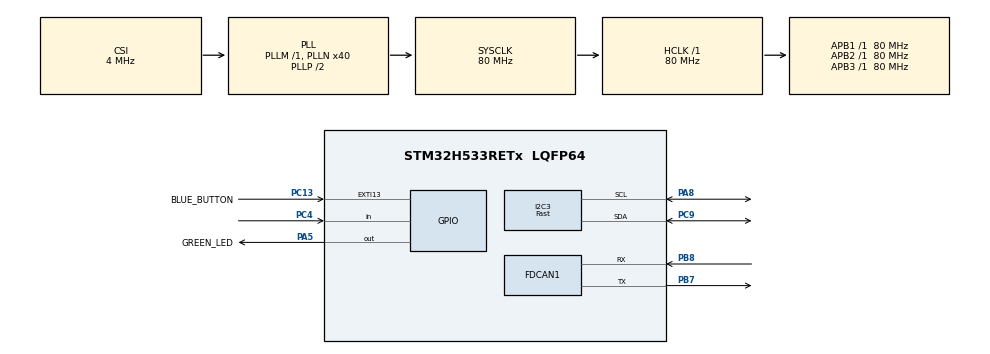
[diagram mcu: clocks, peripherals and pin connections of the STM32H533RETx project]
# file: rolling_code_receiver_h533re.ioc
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BOOTPATH.BootPathName=LEGACY
BOOTPATH.UserSelectedBootPath=LEGACY
CORTEX_M33_NS.userName=CORTEX_M33
FDCAN1.CalculateBaudRateNominal=33333
FDCAN1.CalculateTimeBitNominal=30000
FDCAN1.CalculateTimeQuantumNominal=1500.0
FDCAN1.ClockDivider=FDCAN_CLOCK_DIV8
FDCAN1.DataPrescaler=15
FDCAN1.DataSyncJumpWidth=3
FDCAN1.DataTimeSeg1=16
FDCAN1.DataTimeSeg2=3
FDCAN1.FrameFormat=FDCAN_FRAME_FD_NO_BRS
FDCAN1.NominalPrescaler=15
FDCAN1.NominalSyncJumpWidth=3
FDCAN1.NominalTimeSeg1=16
FDCAN1.NominalTimeSeg2=3
FDCAN1.StdFiltersNbr=1
HASH.Algorithm=HASH_ALGOSELECTION_SHA256
HASH.pKey=__NULL
I2C3.I2C_Speed_Mode=I2C_Fast
I2C3.Timing=0x00702991
Mcu.Family=STM32H5
Mcu.Name=STM32H533RETx
Mcu.Package=LQFP64
NUCLEO-H533RE.Bsp_Common_DEMO=true
NUCLEO-H533RE.VCP=true
NVIC.EXTI13_IRQn=true\:0\:0\:false\:false\:true\:true\:true\:true
NVIC.FDCAN1_IT0_IRQn=true\:0\:0\:false\:false\:true\:true\:true\:true
NVIC.PriorityGroup=NVIC_PRIORITYGROUP_4
PA13(JTMS/SWDIO).GPIO_Label=SWDIO
PA13(JTMS/SWDIO).Signal=DEBUG_JTMS-SWDIO
PA14(JTCK/SWCLK).GPIO_Label=SWCLK
PA14(JTCK/SWCLK).Signal=DEBUG_JTCK-SWCLK
PA15(JTDI).GPIO_Label=JTDI
PA15(JTDI).Signal=DEBUG_JTDI
PA2.Signal=USART2_TX
PA3.Signal=USART2_RX
PA5.GPIO_Label=GREEN_LED
PA5.Signal=GPIO_Output
PA8.Mode=I2C
PA8.Signal=I2C3_SCL
PB3(JTDO/TRACESWO).GPIO_Label=SWO
PB3(JTDO/TRACESWO).Signal=DEBUG_JTDO-SWO
PB7.Mode=FDCAN_Activate
PB7.Signal=FDCAN1_TX
PB8.Mode=FDCAN_Activate
PB8.Signal=FDCAN1_RX
PC13.GPIO_Label=BLUE_BUTTON
PC13.GPIO_PuPd=GPIO_PULLDOWN
PC13.Signal=GPXTI13
PC4.Signal=GPIO_Input
PC9.Mode=I2C
PC9.Signal=I2C3_SDA
ProjectManager.HeapSize=0x200
ProjectManager.StackSize=0x400
ProjectManager.TargetToolchain=STM32CubeIDE
RCC.ADCFreq_Value=80000000
RCC.AHBFreq_Value=80000000
RCC.APB1Freq_Value=80000000
RCC.APB1TimFreq_Value=80000000
RCC.APB2Freq_Value=80000000
RCC.APB2TimFreq_Value=80000000
RCC.APB3Freq_Value=80000000
RCC.CSI_VALUE=4000000
RCC.CortexFreq_Value=80000000
RCC.EPOD_VALUE=4000000
RCC.FDCANClockSelection=RCC_FDCANCLKSOURCE_PLL1Q
RCC.HCLKFreq_Value=80000000
RCC.HSE_VALUE=25000000
RCC.HSI48_VALUE=48000000
RCC.HSI_VALUE=64000000
RCC.LSE_VALUE=32768
RCC.LSIRC_VALUE=32000
RCC.PLL2FRACN=0
RCC.PLL3FRACN=0
RCC.PLLFRACN=0
RCC.PLLN=40
RCC.SYSCLKFreq_VALUE=80000000
RCC.SYSCLKSource=RCC_SYSCLKSOURCE_PLLCLK
RCC.USBFreq_Value=48000000
RCC.VCOOutputFreq_Value=160000000
VP_BOOTPATH_VS_BOOTPATH.Mode=BP_Activate
VP_CORTEX_M33_NS_VS_Hclk.Mode=Hclk_Mode
VP_HASH_VS_HASH.Mode=HASH_Activate
VP_ICACHE_VS_ICACHE.Mode=DirectMappedCache
VP_MEMORYMAP_VS_MEMORYMAP.Mode=CurAppReg
VP_NUCLEO-H533RE_VS_BSP_COMMON.Mode=COMMON
VP_PWR_VS_LPOM.Mode=PowerOptimisation
VP_PWR_VS_SECSignals.Mode=Security/Privilege
board=NUCLEO-H533RE

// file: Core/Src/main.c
/* USER CODE BEGIN Header */
/**
 ******************************************************************************
 * @file           : main.c
 * @brief          : Main program body
 ******************************************************************************
 * @attention
 *
 * Copyright (c) 2025 STMicroelectronics.
 * All rights reserved.
 *
 * This software is licensed under terms that can be found in the LICENSE file
 * in the root directory of this software component.
 * If no LICENSE file comes with this software, it is provided AS-IS.
 *
 ******************************************************************************
 */
/* USER CODE END Header */
#include "main.h"
#include "fdcan.h"
#include "hash.h"
#include "i2c.h"
#include "icache.h"
#include "gpio.h"

/* USER CODE BEGIN Includes */
#include "ssd1306.h"
/* USER CODE END Includes */

/* USER CODE BEGIN PD */
#define TRANSMITTER_SERIAL_NUMBER 0xDEADC0DE // 4-byte
#define SECRET_KEY 0xDEADBEEF  // 4-byte
#define COUNTER_WINDOW_WIDTH 5  // max 255

// colors of terminal
// https://en.wikipedia.org/wiki/ANSI_escape_code
#define DEFAULT_TERMINAL "\e[0m"
#define RED_TERMINAL "\e[31m"
#define GREEN_TERMINAL "\e[32m"
#define MAGENTA_TERMINAL "\e[35m"
#define CYAN_TERMINAL "\e[36m"
/* USER CODE END PD */

COM_InitTypeDef BspCOMInit;
__IO uint32_t BspButtonState = BUTTON_RELEASED;

/* USER CODE BEGIN PV */
FDCAN_RxHeaderTypeDef rxHeader;

union
{
	uint8_t Bytes[16];
	uint32_t Words[4];
} rxData; // CAN FD payload: 4-byte serial number, 11-byte hash of secret key appended with a counter, 1-byte action code

union
{
	uint8_t Bytes[12];
	uint32_t Words[3];
} dataToBeHashed;

uint8_t SHA256Digest[32];
uint8_t fob_message_received_flag = 0;

uint32_t rolling_counter_rx = 0;
uint8_t rolling_counter_advance = 0;
uint8_t is_hash_ok;

char lcd_line[32];
/* USER CODE END PV */

void SystemClock_Config(void);
/* USER CODE BEGIN PFP */
void PrintTimestamp();
/* USER CODE END PFP */

int main(void)
{

	/* MCU Configuration--------------------------------------------------------*/

	/* Reset of all peripherals, Initializes the Flash interface and the Systick. */
	HAL_Init();

	/* Configure the system clock */
	SystemClock_Config();

	/* Initialize all configured peripherals */
	MX_GPIO_Init();
	MX_ICACHE_Init();
	MX_FDCAN1_Init();
	MX_I2C3_Init();
	MX_HASH_Init();
	/* USER CODE BEGIN 2 */

	ssd1306_Init();
	ssd1306_Fill(Black);
	ssd1306_SetCursor(20, 0);
	ssd1306_WriteString("ufnalski.edu.pl", Font_6x8, White);
	ssd1306_SetCursor(20, 12);
	ssd1306_WriteString("Rolling code RX", Font_6x8, White);
	ssd1306_UpdateScreen();

	HAL_FDCAN_ConfigGlobalFilter(&hfdcan1, FDCAN_REJECT, FDCAN_REJECT,
	FDCAN_REJECT_REMOTE, FDCAN_REJECT_REMOTE);

	if (HAL_FDCAN_Start(&hfdcan1) != HAL_OK)
	{
		Error_Handler();
	}

	if (HAL_FDCAN_ActivateNotification(&hfdcan1, FDCAN_IT_RX_FIFO0_NEW_MESSAGE,
			0) != HAL_OK)
	{
		Error_Handler();
	}

	dataToBeHashed.Words[0] = SECRET_KEY;
	/* USER CODE END 2 */

	/* Initialize COM1 port (115200, 8 bits (7-bit data + 1 stop bit), no parity */
	BspCOMInit.BaudRate = 115200;
	BspCOMInit.WordLength = COM_WORDLENGTH_8B;
	BspCOMInit.StopBits = COM_STOPBITS_1;
	BspCOMInit.Parity = COM_PARITY_NONE;
	BspCOMInit.HwFlowCtl = COM_HWCONTROL_NONE;
	if (BSP_COM_Init(COM1, &BspCOMInit) != BSP_ERROR_NONE)
	{
		Error_Handler();
	}

	/* USER CODE BEGIN BSP */

	/* -- Sample board code to send message over COM1 port ---- */
	printf(DEFAULT_TERMINAL"\r\n\r\n"DEFAULT_TERMINAL);
	PrintTimestamp();
	printf(
			DEFAULT_TERMINAL"Welcome to KeeLoq world of rolling/hopping codes!\r\n"DEFAULT_TERMINAL);
	HAL_GPIO_WritePin(GREEN_LED_GPIO_Port, GREEN_LED_Pin, GPIO_PIN_RESET);
	/* USER CODE END BSP */

	/* Infinite loop */
	/* USER CODE BEGIN WHILE */
	while (1)
	{
		if (fob_message_received_flag == 1)
		{
			fob_message_received_flag = 0;

			sprintf(lcd_line, "RX: %08lX %08lX", rxData.Words[0],
					rxData.Words[1]);
			ssd1306_SetCursor(2, 36);
			ssd1306_WriteString(lcd_line, Font_6x8, White);
			sprintf(lcd_line, "   %08lX %02lX %06lX", rxData.Words[2],
					(rxData.Words[3] & 0xFF000000) >> 24,
					rxData.Words[3] & 0x00FFFFFF);
			ssd1306_SetCursor(2, 48);
			ssd1306_WriteString(lcd_line, Font_6x8, White);
			ssd1306_UpdateScreen();

			if (rxData.Words[0] == TRANSMITTER_SERIAL_NUMBER)
			{
				dataToBeHashed.Words[1] = rolling_counter_rx;
				HAL_HASH_Start(&hhash, dataToBeHashed.Bytes, 8, SHA256Digest,
						100);
				is_hash_ok = 1;
				for (uint8_t i = 0; i < 11; i++)
				{
					is_hash_ok &= (rxData.Bytes[i + 4] == SHA256Digest[i]);
				}

				if (is_hash_ok == 1)
				{
					PrintTimestamp();
					printf(
							GREEN_TERMINAL"Hash OK. (Counters in sync.) Action granted.\r\n"DEFAULT_TERMINAL);
					HAL_GPIO_WritePin(GREEN_LED_GPIO_Port, GREEN_LED_Pin,
							GPIO_PIN_SET);
					rolling_counter_rx++;
					sprintf(lcd_line, "RX CNT: %lu", rolling_counter_rx);
					ssd1306_SetCursor(2, 24);
					ssd1306_WriteString(lcd_line, Font_6x8, White);
					ssd1306_UpdateScreen();
				}
				else
				{
					PrintTimestamp();
					printf(
							CYAN_TERMINAL"Hash not OK. Let's check within the counter window.\r\n"DEFAULT_TERMINAL);
					rolling_counter_advance = 0;
					is_hash_ok = 0;
					while ((rolling_counter_advance < COUNTER_WINDOW_WIDTH)
							&& (is_hash_ok != 1))
					{
						rolling_counter_advance++;
						dataToBeHashed.Words[1] = rolling_counter_rx
								+ rolling_counter_advance;
						HAL_HASH_Start(&hhash, dataToBeHashed.Bytes, 8,
								SHA256Digest, 100);
						is_hash_ok = 1;
						for (uint8_t i = 0; i < 11; i++)
						{
							is_hash_ok &= (rxData.Bytes[i + 4]
									== SHA256Digest[i]);
						}
					}

					if (is_hash_ok == 1)
					{
						PrintTimestamp();
						printf(
								GREEN_TERMINAL"Counters can be resynchronized. Action granted.\r\n"DEFAULT_TERMINAL);
						HAL_GPIO_WritePin(GREEN_LED_GPIO_Port, GREEN_LED_Pin,
								GPIO_PIN_SET);
						rolling_counter_rx += rolling_counter_advance;
						rolling_counter_rx++;
						sprintf(lcd_line, "TX CNT: %lu", rolling_counter_rx);
						ssd1306_SetCursor(2, 24);
						ssd1306_WriteString(lcd_line, Font_6x8, White);
						ssd1306_UpdateScreen();
					}
					else
					{
						PrintTimestamp();
						printf(
								RED_TERMINAL"Counters cannot be synchronized! Action denied! Contact your dealer!\r\n"DEFAULT_TERMINAL);
						HAL_GPIO_WritePin(GREEN_LED_GPIO_Port, GREEN_LED_Pin,
								GPIO_PIN_RESET);
//						Error_Handler();  // :)
					}

				}

			}
			else
			{
				PrintTimestamp();
				printf(
						DEFAULT_TERMINAL"Wrong serial number. Not our key fob.\r\n"DEFAULT_TERMINAL);
				HAL_GPIO_WritePin(GREEN_LED_GPIO_Port, GREEN_LED_Pin,
						GPIO_PIN_RESET);
			}

		}
		/* USER CODE END WHILE */

	}
}

void SystemClock_Config(void)
{
	RCC_OscInitTypeDef RCC_OscInitStruct =
	{ 0 };
	RCC_ClkInitTypeDef RCC_ClkInitStruct =
	{ 0 };

	/** Configure the main internal regulator output voltage
	 */
	__HAL_PWR_VOLTAGESCALING_CONFIG(PWR_REGULATOR_VOLTAGE_SCALE3);

	while (!__HAL_PWR_GET_FLAG(PWR_FLAG_VOSRDY))
	{
	}

	/** Initializes the RCC Oscillators according to the specified parameters
	 * in the RCC_OscInitTypeDef structure.
	 */
	RCC_OscInitStruct.OscillatorType = RCC_OSCILLATORTYPE_CSI;
	RCC_OscInitStruct.CSIState = RCC_CSI_ON;
	RCC_OscInitStruct.CSICalibrationValue = RCC_CSICALIBRATION_DEFAULT;
	RCC_OscInitStruct.PLL.PLLState = RCC_PLL_ON;
	RCC_OscInitStruct.PLL.PLLSource = RCC_PLL1_SOURCE_CSI;
	RCC_OscInitStruct.PLL.PLLM = 1;
	RCC_OscInitStruct.PLL.PLLN = 40;
	RCC_OscInitStruct.PLL.PLLP = 2;
	RCC_OscInitStruct.PLL.PLLQ = 2;
	RCC_OscInitStruct.PLL.PLLR = 2;
	RCC_OscInitStruct.PLL.PLLRGE = RCC_PLL1_VCIRANGE_2;
	RCC_OscInitStruct.PLL.PLLVCOSEL = RCC_PLL1_VCORANGE_WIDE;
	RCC_OscInitStruct.PLL.PLLFRACN = 0;
	if (HAL_RCC_OscConfig(&RCC_OscInitStruct) != HAL_OK)
	{
		Error_Handler();
	}

	/** Initializes the CPU, AHB and APB buses clocks
	 */
	RCC_ClkInitStruct.ClockType = RCC_CLOCKTYPE_HCLK | RCC_CLOCKTYPE_SYSCLK
			| RCC_CLOCKTYPE_PCLK1 | RCC_CLOCKTYPE_PCLK2 | RCC_CLOCKTYPE_PCLK3;
	RCC_ClkInitStruct.SYSCLKSource = RCC_SYSCLKSOURCE_PLLCLK;
	RCC_ClkInitStruct.AHBCLKDivider = RCC_SYSCLK_DIV1;
	RCC_ClkInitStruct.APB1CLKDivider = RCC_HCLK_DIV1;
	RCC_ClkInitStruct.APB2CLKDivider = RCC_HCLK_DIV1;
	RCC_ClkInitStruct.APB3CLKDivider = RCC_HCLK_DIV1;

	if (HAL_RCC_ClockConfig(&RCC_ClkInitStruct, FLASH_LATENCY_3) != HAL_OK)
	{
		Error_Handler();
	}

	/** Configure the programming delay
	 */
	__HAL_FLASH_SET_PROGRAM_DELAY(FLASH_PROGRAMMING_DELAY_1);
}

/* USER CODE BEGIN 4 */
void HAL_FDCAN_RxFifo0Callback(FDCAN_HandleTypeDef *hfdcan, uint32_t RxFifo0ITs)
{
	if ((RxFifo0ITs & FDCAN_IT_RX_FIFO0_NEW_MESSAGE) != RESET)
	{
		/* Retreive Rx messages from RX FIFO0 */
		if (HAL_FDCAN_GetRxMessage(hfdcan, FDCAN_RX_FIFO0, &rxHeader,
				rxData.Bytes) != HAL_OK)
		{
			Error_Handler();
		}
		else
		{
			fob_message_received_flag = 1;
			HAL_GPIO_TogglePin(GREEN_LED_GPIO_Port, GREEN_LED_Pin);
		}

		if (HAL_FDCAN_ActivateNotification(hfdcan,
		FDCAN_IT_RX_FIFO0_NEW_MESSAGE, 0) != HAL_OK)
		{
			/* Notification Error */
			Error_Handler();
		}

	}
}

void PrintTimestamp()
{
	uint32_t time_stamp;
	time_stamp = HAL_GetTick();
	printf("[%03lu.%-3lu] ", time_stamp / 1000, time_stamp % 1000);
}
/* USER CODE END 4 */

void Error_Handler(void)
{
	__disable_irq();
	while (1)
	{
	}
}
